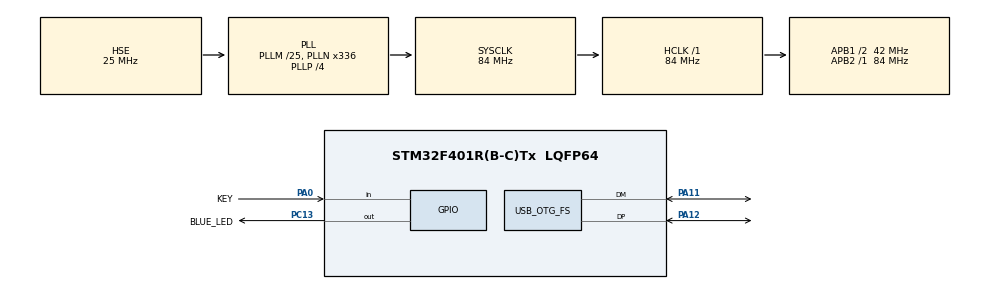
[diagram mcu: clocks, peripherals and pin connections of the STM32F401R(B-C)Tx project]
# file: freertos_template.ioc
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Mcu.Family=STM32F4
Mcu.Name=STM32F401R(B-C)Tx
Mcu.Package=LQFP64
NVIC.OTG_FS_IRQn=true\:6\:0\:true\:false\:true\:false\:true\:true
NVIC.PriorityGroup=NVIC_PRIORITYGROUP_4
NVIC.TIM1_UP_TIM10_IRQn=true\:15\:0\:false\:false\:true\:false\:true\:true
NVIC.TimeBase=TIM1_UP_TIM10_IRQn
NVIC.TimeBaseIP=TIM1
PA0-WKUP.GPIO_Label=KEY
PA0-WKUP.Signal=GPIO_Input
PA11.Mode=Device_Only
PA11.Signal=USB_OTG_FS_DM
PA12.Mode=Device_Only
PA12.Signal=USB_OTG_FS_DP
PA13.Mode=Trace_Asynchronous_SW
PA13.Signal=SYS_JTMS-SWDIO
PA14.Mode=Trace_Asynchronous_SW
PA14.Signal=SYS_JTCK-SWCLK
PB3.Mode=Trace_Asynchronous_SW
PB3.Signal=SYS_JTDO-SWO
PC13-ANTI_TAMP.GPIO_Label=BLUE_LED
PC13-ANTI_TAMP.Signal=GPIO_Output
PC14-OSC32_IN.Mode=LSE-External-Oscillator
PC14-OSC32_IN.Signal=RCC_OSC32_IN
PC15-OSC32_OUT.Mode=LSE-External-Oscillator
PC15-OSC32_OUT.Signal=RCC_OSC32_OUT
PH0\ -\ OSC_IN.Mode=HSE-External-Oscillator
PH0\ -\ OSC_IN.Signal=RCC_OSC_IN
PH1\ -\ OSC_OUT.Mode=HSE-External-Oscillator
PH1\ -\ OSC_OUT.Signal=RCC_OSC_OUT
ProjectManager.HeapSize=0x200
ProjectManager.StackSize=0x400
ProjectManager.TargetToolchain=Makefile
RCC.48MHZClocksFreq_Value=48000000
RCC.AHBFreq_Value=84000000
RCC.APB1CLKDivider=RCC_HCLK_DIV2
RCC.APB1Freq_Value=42000000
RCC.APB1TimFreq_Value=84000000
RCC.APB2Freq_Value=84000000
RCC.APB2TimFreq_Value=84000000
RCC.CortexFreq_Value=84000000
RCC.HCLKFreq_Value=84000000
RCC.HSE_VALUE=25000000
RCC.HSI_VALUE=16000000
RCC.PLLM=25
RCC.PLLN=336
RCC.PLLP=RCC_PLLP_DIV4
RCC.PLLQ=7
RCC.SYSCLKFreq_VALUE=84000000
RCC.SYSCLKSource=RCC_SYSCLKSOURCE_PLLCLK
RCC.VCOOutputFreq_Value=336000000
USB_DEVICE.CLASS_NAME_FS=CDC
USB_DEVICE.VirtualMode=Cdc
USB_DEVICE.VirtualModeFS=Cdc_FS
USB_OTG_FS.VirtualMode=Device_Only
VP_SYS_VS_tim1.Mode=TIM1
VP_USB_DEVICE_VS_USB_DEVICE_CDC_FS.Mode=CDC_FS
board=custom

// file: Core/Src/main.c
/* USER CODE BEGIN Header */
/**
  ******************************************************************************
  * @file           : main.c
  * @brief          : Main program body
  ******************************************************************************
  * @attention
  *
  * Copyright (c) 2023 STMicroelectronics.
  * All rights reserved.
  *
  * This software is licensed under terms that can be found in the LICENSE file
  * in the root directory of this software component.
  * If no LICENSE file comes with this software, it is provided AS-IS.
  *
  ******************************************************************************
  */
/* USER CODE END Header */
#include "main.h"
#include "usb_device.h"
#include "gpio.h"

/* USER CODE BEGIN Includes */
#include "usbd_cdc_if.h"
#include "FreeRTOS.h"
#include "task.h"
#include "dwt_delay.h"

/* USER CODE END Includes */

/* USER CODE BEGIN PV */
TaskHandle_t task1_handler;
TaskHandle_t task2_handler;

uint8_t task1_count;
/* USER CODE END PV */

void SystemClock_Config(void);
/* USER CODE BEGIN PFP */
static void task1(void *param);
static void task2(void *param);

/* USER CODE END PFP */

int main(void)
{
  /* USER CODE BEGIN 1 */
  BaseType_t status;
  /* USER CODE END 1 */

  /* MCU Configuration--------------------------------------------------------*/

  /* Reset of all peripherals, Initializes the Flash interface and the Systick. */
  HAL_Init();

  /* Configure the system clock */
  SystemClock_Config();

  /* Initialize all configured peripherals */
  MX_GPIO_Init();
  MX_USB_DEVICE_Init();
  /* USER CODE BEGIN 2 */
  DWT_Init();
  HAL_Delay(100);

  task1_count = 0;

  vSetVarulMaxPRIGROUPValue();
  SEGGER_UART_init(500000);
  SEGGER_SYSVIEW_Conf();

  status = xTaskCreate(task1, "task1", 200, NULL, 2, &task1_handler);
  configASSERT(status == pdPASS);

  status = xTaskCreate(task2, "task2", 200, NULL, 2, &task2_handler);
  configASSERT(status == pdPASS);

  vTaskStartScheduler();
  /* USER CODE END 2 */

  /* Infinite loop */
  while (1)
  {

  }
}

void SystemClock_Config(void)
{
  RCC_OscInitTypeDef RCC_OscInitStruct = {0};
  RCC_ClkInitTypeDef RCC_ClkInitStruct = {0};

  /** Configure the main internal regulator output voltage
  */
  __HAL_RCC_PWR_CLK_ENABLE();
  __HAL_PWR_VOLTAGESCALING_CONFIG(PWR_REGULATOR_VOLTAGE_SCALE2);

  /** Initializes the RCC Oscillators according to the specified parameters
  * in the RCC_OscInitTypeDef structure.
  */
  RCC_OscInitStruct.OscillatorType = RCC_OSCILLATORTYPE_HSE;
  RCC_OscInitStruct.HSEState = RCC_HSE_ON;
  RCC_OscInitStruct.PLL.PLLState = RCC_PLL_ON;
  RCC_OscInitStruct.PLL.PLLSource = RCC_PLLSOURCE_HSE;
  RCC_OscInitStruct.PLL.PLLM = 25;
  RCC_OscInitStruct.PLL.PLLN = 336;
  RCC_OscInitStruct.PLL.PLLP = RCC_PLLP_DIV4;
  RCC_OscInitStruct.PLL.PLLQ = 7;
  if (HAL_RCC_OscConfig(&RCC_OscInitStruct) != HAL_OK)
  {
    Error_Handler();
  }

  /** Initializes the CPU, AHB and APB buses clocks
  */
  RCC_ClkInitStruct.ClockType = RCC_CLOCKTYPE_HCLK|RCC_CLOCKTYPE_SYSCLK
                              |RCC_CLOCKTYPE_PCLK1|RCC_CLOCKTYPE_PCLK2;
  RCC_ClkInitStruct.SYSCLKSource = RCC_SYSCLKSOURCE_PLLCLK;
  RCC_ClkInitStruct.AHBCLKDivider = RCC_SYSCLK_DIV1;
  RCC_ClkInitStruct.APB1CLKDivider = RCC_HCLK_DIV2;
  RCC_ClkInitStruct.APB2CLKDivider = RCC_HCLK_DIV1;

  if (HAL_RCC_ClockConfig(&RCC_ClkInitStruct, FLASH_LATENCY_2) != HAL_OK)
  {
    Error_Handler();
  }
}

/* USER CODE BEGIN 4 */
static void task1(void *param)
{

  while (1) {
    if (++task1_count > 10)
      task1_count = 0;

    vTaskDelay(pdMS_TO_TICKS(500));
  }
}
static void task2(void *param)
{
  char msg[100];
  uint8_t len;

  while (1) {
    len = snprintf(msg, 100, "task1 count: %d\n", task1_count);
    CDC_Transmit_FS((uint8_t *)msg, len);

    vTaskDelay(pdMS_TO_TICKS(500));
  }
}

/* USER CODE END 4 */

void HAL_TIM_PeriodElapsedCallback(TIM_HandleTypeDef *htim)
{
  if (htim->Instance == TIM1) {
    HAL_IncTick();
  }
}

void Error_Handler(void)
{
  __disable_irq();
  while (1)
  {
  }
}
